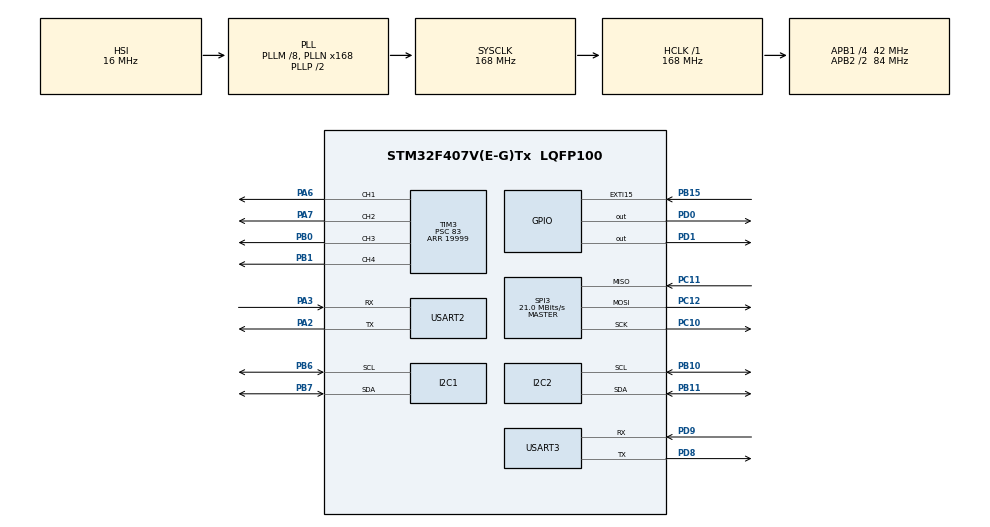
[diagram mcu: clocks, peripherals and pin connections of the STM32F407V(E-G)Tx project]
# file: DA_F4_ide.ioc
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Dma.I2C1_RX.4.Direction=DMA_PERIPH_TO_MEMORY
Dma.I2C1_RX.4.FIFOMode=DMA_FIFOMODE_DISABLE
Dma.I2C1_RX.4.Instance=DMA1_Stream0
Dma.I2C1_RX.4.MemDataAlignment=DMA_MDATAALIGN_BYTE
Dma.I2C1_RX.4.MemInc=DMA_MINC_ENABLE
Dma.I2C1_RX.4.Mode=DMA_NORMAL
Dma.I2C1_RX.4.PeriphDataAlignment=DMA_PDATAALIGN_BYTE
Dma.I2C1_RX.4.PeriphInc=DMA_PINC_DISABLE
Dma.I2C1_RX.4.Priority=DMA_PRIORITY_VERY_HIGH
Dma.I2C1_TX.5.Direction=DMA_MEMORY_TO_PERIPH
Dma.I2C1_TX.5.FIFOMode=DMA_FIFOMODE_DISABLE
Dma.I2C1_TX.5.Instance=DMA1_Stream7
Dma.I2C1_TX.5.MemDataAlignment=DMA_MDATAALIGN_BYTE
Dma.I2C1_TX.5.MemInc=DMA_MINC_ENABLE
Dma.I2C1_TX.5.Mode=DMA_NORMAL
Dma.I2C1_TX.5.PeriphDataAlignment=DMA_PDATAALIGN_BYTE
Dma.I2C1_TX.5.PeriphInc=DMA_PINC_DISABLE
Dma.I2C1_TX.5.Priority=DMA_PRIORITY_VERY_HIGH
Dma.Request0=USART2_RX
Dma.Request1=USART2_TX
Dma.Request2=USART3_RX
Dma.Request3=USART3_TX
Dma.Request4=I2C1_RX
Dma.Request5=I2C1_TX
Dma.USART2_RX.0.Direction=DMA_PERIPH_TO_MEMORY
Dma.USART2_RX.0.FIFOMode=DMA_FIFOMODE_DISABLE
Dma.USART2_RX.0.Instance=DMA1_Stream5
Dma.USART2_RX.0.MemDataAlignment=DMA_MDATAALIGN_BYTE
Dma.USART2_RX.0.MemInc=DMA_MINC_ENABLE
Dma.USART2_RX.0.Mode=DMA_NORMAL
Dma.USART2_RX.0.PeriphDataAlignment=DMA_PDATAALIGN_BYTE
Dma.USART2_RX.0.PeriphInc=DMA_PINC_DISABLE
Dma.USART2_RX.0.Priority=DMA_PRIORITY_HIGH
Dma.USART2_TX.1.Direction=DMA_MEMORY_TO_PERIPH
Dma.USART2_TX.1.FIFOMode=DMA_FIFOMODE_DISABLE
Dma.USART2_TX.1.Instance=DMA1_Stream6
Dma.USART2_TX.1.MemDataAlignment=DMA_MDATAALIGN_BYTE
Dma.USART2_TX.1.MemInc=DMA_MINC_ENABLE
Dma.USART2_TX.1.Mode=DMA_NORMAL
Dma.USART2_TX.1.PeriphDataAlignment=DMA_PDATAALIGN_BYTE
Dma.USART2_TX.1.PeriphInc=DMA_PINC_DISABLE
Dma.USART2_TX.1.Priority=DMA_PRIORITY_MEDIUM
Dma.USART3_RX.2.Direction=DMA_PERIPH_TO_MEMORY
Dma.USART3_RX.2.FIFOMode=DMA_FIFOMODE_DISABLE
Dma.USART3_RX.2.Instance=DMA1_Stream1
Dma.USART3_RX.2.MemDataAlignment=DMA_MDATAALIGN_BYTE
Dma.USART3_RX.2.MemInc=DMA_MINC_ENABLE
Dma.USART3_RX.2.Mode=DMA_NORMAL
Dma.USART3_RX.2.PeriphDataAlignment=DMA_PDATAALIGN_BYTE
Dma.USART3_RX.2.PeriphInc=DMA_PINC_DISABLE
Dma.USART3_RX.2.Priority=DMA_PRIORITY_HIGH
Dma.USART3_TX.3.Direction=DMA_MEMORY_TO_PERIPH
Dma.USART3_TX.3.FIFOMode=DMA_FIFOMODE_DISABLE
Dma.USART3_TX.3.Instance=DMA1_Stream3
Dma.USART3_TX.3.MemDataAlignment=DMA_MDATAALIGN_BYTE
Dma.USART3_TX.3.MemInc=DMA_MINC_ENABLE
Dma.USART3_TX.3.Mode=DMA_NORMAL
Dma.USART3_TX.3.PeriphDataAlignment=DMA_PDATAALIGN_BYTE
Dma.USART3_TX.3.PeriphInc=DMA_PINC_DISABLE
Dma.USART3_TX.3.Priority=DMA_PRIORITY_MEDIUM
I2C1.I2C_Mode=I2C_Fast
I2C2.I2C_Mode=I2C_Fast
Mcu.Family=STM32F4
Mcu.Name=STM32F407V(E-G)Tx
Mcu.Package=LQFP100
NVIC.DMA1_Stream0_IRQn=true\:0\:0\:false\:false\:true\:false\:true\:true
NVIC.DMA1_Stream1_IRQn=true\:0\:0\:false\:false\:true\:false\:true\:true
NVIC.DMA1_Stream3_IRQn=true\:0\:0\:false\:false\:true\:false\:true\:true
NVIC.DMA1_Stream5_IRQn=true\:0\:0\:false\:false\:true\:false\:true\:true
NVIC.DMA1_Stream6_IRQn=true\:0\:0\:false\:false\:true\:false\:true\:true
NVIC.DMA1_Stream7_IRQn=true\:0\:0\:false\:false\:true\:false\:true\:true
NVIC.EXTI15_10_IRQn=true\:0\:0\:false\:false\:true\:true\:true\:true
NVIC.PriorityGroup=NVIC_PRIORITYGROUP_4
NVIC.TIM4_IRQn=true\:0\:0\:false\:false\:true\:true\:true\:true
NVIC.USART2_IRQn=true\:0\:0\:false\:false\:true\:true\:true\:true
NVIC.USART3_IRQn=true\:0\:0\:false\:false\:true\:true\:true\:true
PA13.Mode=Serial_Wire
PA13.Signal=SYS_JTMS-SWDIO
PA14.Mode=Serial_Wire
PA14.Signal=SYS_JTCK-SWCLK
PA2.Mode=Asynchronous
PA2.Signal=USART2_TX
PA3.Mode=Asynchronous
PA3.Signal=USART2_RX
PA6.Signal=S_TIM3_CH1
PA7.Signal=S_TIM3_CH2
PB0.Signal=S_TIM3_CH3
PB1.Signal=S_TIM3_CH4
PB10.Mode=I2C
PB10.Signal=I2C2_SCL
PB11.Mode=I2C
PB11.Signal=I2C2_SDA
PB15.Signal=GPXTI15
PB6.Mode=I2C
PB6.Signal=I2C1_SCL
PB7.Mode=I2C
PB7.Signal=I2C1_SDA
PC10.Mode=Full_Duplex_Master
PC10.Signal=SPI3_SCK
PC11.Mode=Full_Duplex_Master
PC11.Signal=SPI3_MISO
PC12.Mode=Full_Duplex_Master
PC12.Signal=SPI3_MOSI
PD0.Signal=GPIO_Output
PD1.Signal=GPIO_Output
PD8.Mode=Asynchronous
PD8.Signal=USART3_TX
PD9.Mode=Asynchronous
PD9.Signal=USART3_RX
PH0-OSC_IN.Mode=HSE-External-Oscillator
PH0-OSC_IN.Signal=RCC_OSC_IN
PH1-OSC_OUT.Mode=HSE-External-Oscillator
PH1-OSC_OUT.Signal=RCC_OSC_OUT
ProjectManager.HeapSize=0x200
ProjectManager.StackSize=0x400
ProjectManager.TargetToolchain=STM32CubeIDE
RCC.48MHZClocksFreq_Value=84000000
RCC.AHBFreq_Value=168000000
RCC.APB1CLKDivider=RCC_HCLK_DIV4
RCC.APB1Freq_Value=42000000
RCC.APB1TimFreq_Value=84000000
RCC.APB2CLKDivider=RCC_HCLK_DIV2
RCC.APB2Freq_Value=84000000
RCC.APB2TimFreq_Value=168000000
RCC.CortexFreq_Value=168000000
RCC.HCLKFreq_Value=168000000
RCC.HSE_VALUE=25000000
RCC.HSI_VALUE=16000000
RCC.LSE_VALUE=32768
RCC.PLLM=8
RCC.PLLN=168
RCC.SYSCLKFreq_VALUE=168000000
RCC.SYSCLKSource=RCC_SYSCLKSOURCE_PLLCLK
RCC.VCOOutputFreq_Value=336000000
SH.S_TIM3_CH1.0=TIM3_CH1,PWM Generation1 CH1
SH.S_TIM3_CH2.0=TIM3_CH2,PWM Generation2 CH2
SH.S_TIM3_CH3.0=TIM3_CH3,PWM Generation3 CH3
SH.S_TIM3_CH4.0=TIM3_CH4,PWM Generation4 CH4
SPI3.CalculateBaudRate=21.0 MBits/s
SPI3.Direction=SPI_DIRECTION_2LINES
SPI3.Mode=SPI_MODE_MASTER
SPI3.VirtualType=VM_MASTER
TIM1.Prescaler=167
TIM2.Period=4294967295-1
TIM2.Prescaler=83
TIM3.Channel-PWM\ Generation1\ CH1=TIM_CHANNEL_1
TIM3.Channel-PWM\ Generation2\ CH2=TIM_CHANNEL_2
TIM3.Channel-PWM\ Generation3\ CH3=TIM_CHANNEL_3
TIM3.Channel-PWM\ Generation4\ CH4=TIM_CHANNEL_4
TIM3.OCFastMode_PWM-PWM\ Generation1\ CH1=TIM_OCFAST_ENABLE
TIM3.OCFastMode_PWM-PWM\ Generation2\ CH2=TIM_OCFAST_ENABLE
TIM3.OCFastMode_PWM-PWM\ Generation3\ CH3=TIM_OCFAST_ENABLE
TIM3.OCFastMode_PWM-PWM\ Generation4\ CH4=TIM_OCFAST_ENABLE
TIM3.Period=19999
TIM3.Prescaler=83
TIM4.Period=1249
TIM4.Prescaler=8399
USART2.VirtualMode=VM_ASYNC
USART3.VirtualMode=VM_ASYNC
VP_TIM1_VS_ClockSourceINT.Mode=Internal
VP_TIM2_VS_ClockSourceINT.Mode=Internal
VP_TIM4_VS_ClockSourceINT.Mode=Internal
board=custom

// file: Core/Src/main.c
/* USER CODE BEGIN Header */
/**
  ******************************************************************************
  * @file           : main.c
  * @brief          : Main program body
  ******************************************************************************
  * @attention
  *
  * Copyright (c) 2024 STMicroelectronics.
  * All rights reserved.
  *
  * This software is licensed under terms that can be found in the LICENSE file
  * in the root directory of this software component.
  * If no LICENSE file comes with this software, it is provided AS-IS.
  *
  ******************************************************************************
  */
/* USER CODE END Header */
#include "main.h"

/* USER CODE BEGIN Includes */
#include "stdbool.h"
#include "math.h"
#include "stdlib.h"
#include "stdio.h"
#include "string.h"
#include "BMP280_STM32.h"
#include "wire.h"

#define pi 3.14159
#define MPU6050_ADDR 0xD0
#define SMPLRT_DIV_REG 0x19
#define GYRO_CONFIG_REG 0x1B
#define ACCEL_CONFIG_REG 0x1C
#define ACCEL_XOUT_H_REG 0x3B
#define TEMP_OUT_H_REG 0x41
#define GYRO_XOUT_H_REG 0x43
#define PWR_MGMT_1_REG 0x6B
#define WHO_AM_I_REG 0x75
#define CONFIG_REG 0x1A
/* USER CODE END Includes */

/* USER CODE BEGIN PTD */
uint8_t  buffer[5];  //twi buffer, for now 32 elements, for other purpose (e.g. for OLED it is 1024) change as you wish
uint8_t  address=0x77, length=0; //0xEC
uint16_t calibrationData[7];
int64_t OFF, OFF2, SENS, SENS2;
int pressure, D1, D2, dT, P, Pa, TEMP, T2;
float Altitude;
uint8_t Flag_Plot = 0;
uint8_t Rx_Data[63];
uint8_t Rx_buff[63];
uint8_t Tx_buff[70];
uint16_t size_RxData = 0;

uint8_t Tx_data[70];

volatile long ch[8];
volatile long tick;
volatile uint8_t pulse;
volatile float AngleRoll;
volatile float AnglePitch;

int16_t Accel_X_RAW = 0;
int16_t Accel_Y_RAW = 0;
int16_t Accel_Z_RAW = 0;

int16_t Gyro_X_RAW = 0;
int16_t Gyro_Y_RAW = 0;
int16_t Gyro_Z_RAW = 0;

float Ax, Ay, Az, Gx, Gy, Gz;
float AccZInertial;
float VelocityVertical;
long Gyro_X_Calib,Gyro_Y_Calib,Gyro_Z_Calib;
double Altitude_Calib;

int loop_timer;

int receiver_input_channel_1;
int receiver_input_channel_2;
int receiver_input_channel_3;
int receiver_input_channel_4;
int receiver_input_channel_5;
int receiver_input_channel_6;
/* USER CODE END PTD */

/* USER CODE BEGIN PD */
float KalmanAngleRoll=0, KalmanUncertaintyAngleRoll=2*2;
float KalmanAnglePitch=0, KalmanUncertaintyAnglePitch=2*2;
float Kalman1DOutput[] = {0,0};
//float AltitudeKalman = 0,VelocityVerticalKalman = 0;
//float F[2][2]; float G[2][1];float  P[2][2];float  Q[2][2];float S[2][1];
//float H[1][2]; float I[2][2];float Acc[1][1];float K[2][1];float R[1][1];float L[1][1];float M[1][1];
float DesiredRateRoll, DesiredRatePitch,DesiredRateYaw;
float ErrorRateRoll, ErrorRatePitch, ErrorRateYaw;
float InputRoll, InputThrottle, InputPitch, InputYaw;
float PrevErrorRateRoll, PrevErrorRatePitch, PrevErrorRateYaw;
float PrevItermRateRoll, PrevItermRatePitch, PrevItermRateYaw;

float PIDReturn[]={0, 0, 0};
float PRateRoll=0; float PRatePitch=0; float PRateYaw=0;
float IRateRoll=0; float IRatePitch=0; float IRateYaw=0;
float DRateRoll=0; float DRatePitch=0; float DRateYaw=0;
float MotorInput1, MotorInput2, MotorInput3, MotorInput4;

float DesiredAngleRoll, DesiredAnglePitch;
float ErrorAngleRoll, ErrorAnglePitch;
float PrevErrorAngleRoll, PrevErrorAnglePitch;
float PrevItermAngleRoll, PrevItermAnglePitch;
float PAngleRoll=0; float PAnglePitch=0;
float IAngleRoll=0; float IAnglePitch=0;
float DAngleRoll=0; float DAnglePitch=0;
/* USER CODE END PD */

/* USER CODE BEGIN PM */
int SetValue(int value, int inMin, int inMax, int outMin, int outMax);
/* USER CODE END PM */

I2C_HandleTypeDef hi2c1;
I2C_HandleTypeDef hi2c2;
DMA_HandleTypeDef hdma_i2c1_rx;
DMA_HandleTypeDef hdma_i2c1_tx;

SPI_HandleTypeDef hspi3;

TIM_HandleTypeDef htim1;
TIM_HandleTypeDef htim2;
TIM_HandleTypeDef htim3;
TIM_HandleTypeDef htim4;

UART_HandleTypeDef huart2;
UART_HandleTypeDef huart3;
DMA_HandleTypeDef hdma_usart2_rx;
DMA_HandleTypeDef hdma_usart2_tx;
DMA_HandleTypeDef hdma_usart3_rx;
DMA_HandleTypeDef hdma_usart3_tx;

/* USER CODE BEGIN PV */
void fault_dec()
{
	while(1);
}
void Send_Data_To_Gui()
{
	 Tx_buff[0] = 0x44;
   Tx_buff[1] = 0x41;
	 unsigned char *AngleRoll_Bytes = (unsigned char *)&KalmanAngleRoll;
    for (int i = 0; i < sizeof(float); ++i) {
        Tx_buff[i + 2] = AngleRoll_Bytes[i];
    }
		unsigned char *AnglePitch_Bytes = (unsigned char *)&KalmanAnglePitch;
    for (int i = 0; i < sizeof(float); ++i) {
        Tx_buff[i + 6] = AnglePitch_Bytes[i];
    }
		unsigned char *AngleRoll_Setpoint_Bytes = (unsigned char *)&DesiredAngleRoll;
    for (int i = 0; i < sizeof(float); ++i) {
        Tx_buff[i + 10] = AngleRoll_Setpoint_Bytes[i];
    }
		unsigned char *AnglePitch_Setpoint_Bytes = (unsigned char *)&DesiredAnglePitch;
    for (int i = 0; i < sizeof(float); ++i) {
        Tx_buff[i + 14] = AnglePitch_Setpoint_Bytes[i];
    }

		Tx_buff[18] = '\r'; Tx_buff[19] = '\n';
	if(Flag_Plot)
	{
		HAL_UART_Transmit_DMA(&huart2, Tx_buff,20);
	}
}

void kalman_1d(float KalmanState, float KalmanUncertainty, float KalmanInput, float KalmanMeasurement) {
  KalmanState = KalmanState + 0.004*KalmanInput;
  KalmanUncertainty = KalmanUncertainty + 0.004 * 0.004 * 4 * 4;
  float KalmanGain = KalmanUncertainty * 1/(1*KalmanUncertainty + 3 * 3);
  KalmanState = KalmanState+KalmanGain * (KalmanMeasurement-KalmanState);
  KalmanUncertainty = (1-KalmanGain) * KalmanUncertainty;
  Kalman1DOutput[0] = KalmanState;
  Kalman1DOutput[1] = KalmanUncertainty;
}
void kalman_2d(void);
void define_kalman_2d(void);

int SetValue(int value, int inMin, int inMax, int outMin, int outMax)
{
	if (value < inMin) return outMin;
	else if (value > inMax) return outMax;
	else return value;
}

void HAL_GPIO_EXTI_Callback(uint16_t GPIO_Pin){

	if ( GPIO_Pin == GPIO_PIN_15){
		tick = __HAL_TIM_GET_COUNTER(&htim2);
		__HAL_TIM_SET_COUNTER(&htim2,0);

		if ( tick < 2100){
			ch[pulse] = SetValue(tick, 1030, 1950, 1000, 2000);;
			pulse++;
		}
		else{
			__HAL_TIM_SET_COUNTER(&htim2,0);
			pulse =0;
		}
	}
}

void MPU6050_Init (void)
{
	uint8_t check;
	uint8_t Data;

	// check device ID WHO_AM_I

	HAL_I2C_Mem_Read (&hi2c1, MPU6050_ADDR,WHO_AM_I_REG,1, &check, 1,1000);

	if (check == 104)  // 0x68 will be returned by the sensor if everything goes well
	{
		// power management register 0X6B we should write all 0's to wake the sensor up
		Data = 0;
		if(HAL_I2C_Mem_Write(&hi2c1, MPU6050_ADDR, PWR_MGMT_1_REG, 1,&Data, 1,1000)!= HAL_OK)
			fault_dec();
		// config 1KHz Digital Low Pass Filter 10Hz
		Data = 0x05;
		if(HAL_I2C_Mem_Write(&hi2c1, MPU6050_ADDR, CONFIG_REG, 1,&Data, 1,1000)!= HAL_OK)
			fault_dec();

		// Set DATA RATE of 1KHz by writing SMPLRT_DIV register
		Data = 0x07;
		if(HAL_I2C_Mem_Write(&hi2c1, MPU6050_ADDR, SMPLRT_DIV_REG, 1, &Data, 1,1000)!= HAL_OK)
			fault_dec();

		// Set accelerometer configuration in ACCEL_CONFIG Register
		// XA_ST=0,YA_ST=0,ZA_ST=0, FS_SEL=0 -> � 8g
		Data = 0x10;
		if(HAL_I2C_Mem_Write(&hi2c1, MPU6050_ADDR, ACCEL_CONFIG_REG, 1, &Data, 1,1000)!= HAL_OK)
			fault_dec();

		// Set Gyroscopic configuration in GYRO_CONFIG Register
		// XG_ST=0,YG_ST=0,ZG_ST=0, FS_SEL=0 -> � 500 �/s
		Data = 0x08;
		if(HAL_I2C_Mem_Write(&hi2c1, MPU6050_ADDR, GYRO_CONFIG_REG, 1, &Data, 1,1000)!= HAL_OK)
			fault_dec();
	}
}

HAL_StatusTypeDef MPU6050_Read_Data (void)
{
	uint8_t Rec_Data_Acc[6];
	uint8_t Rec_Data_Gyro[6];

	// Read 6 BYTES of data starting from ACCEL_XOUT_H register

	if(HAL_I2C_Mem_Read (&hi2c1, MPU6050_ADDR, ACCEL_XOUT_H_REG,1,Rec_Data_Acc,6,20) != HAL_OK)
		return HAL_ERROR;

	Accel_X_RAW = (int16_t)(Rec_Data_Acc[0] << 8 | Rec_Data_Acc [1]);
	Accel_Y_RAW = (int16_t)(Rec_Data_Acc[2] << 8 | Rec_Data_Acc [3]);
	Accel_Z_RAW = (int16_t)(Rec_Data_Acc[4] << 8 | Rec_Data_Acc [5]);

	/*** convert the RAW values into acceleration in 'g'
	     we have to divide according to the Full scale value set in FS_SEL
	     I have configured FS_SEL = 0. So I am dividing by 16384.0
	     for more details check ACCEL_CONFIG Register              ****/

	Ax = Accel_X_RAW/4096.0;
	Ay = Accel_Y_RAW/4096.0;
	Az = Accel_Z_RAW/4096.0;

	if(HAL_I2C_Mem_Read (&hi2c1, MPU6050_ADDR, GYRO_XOUT_H_REG,1,Rec_Data_Gyro,6,20)!= HAL_OK)
		return HAL_ERROR;
	Gyro_X_RAW = (int16_t)(Rec_Data_Gyro[0] << 8 | Rec_Data_Gyro [1]);
	Gyro_Y_RAW = (int16_t)(Rec_Data_Gyro[2] << 8 | Rec_Data_Gyro [3]);
	Gyro_Z_RAW = (int16_t)(Rec_Data_Gyro[4] << 8 | Rec_Data_Gyro [5]);

	/*** convert the RAW values into dps (�/s)
	     we have to divide according to the Full scale value set in FS_SEL
	     I have configured FS_SEL = 0. So I am dividing by 131.0
	     for more details check GYRO_CONFIG Register              ****/

	Gx = Gyro_X_RAW/65.5;
	Gy = Gyro_Y_RAW/65.5;
	Gz = Gyro_Z_RAW/65.5;

	AngleRoll = atan(Ay/(sqrt(Ax*Ax + Az*Az)))*180/pi;
	AnglePitch = -atan(Ax/(sqrt(Ay*Ay + Az*Az)))*180/pi;
	return HAL_OK;
}

void Calib_Gyro(void);
void Reset_MPU6050(void);
void Calib_BMP280(void);

void pid_equation(float Error, float P , float I, float D, float PrevError, float PrevIterm) {
  // T = 4ms chu ky lay mau, 250Hz
  // T = 20ms chu ky lay mau, 50Hz
  float Pterm=P*Error;
  float Iterm=PrevIterm+I*(Error+PrevError)*0.004/2;
  if (Iterm > 400) Iterm=400;
  else if (Iterm <-400) Iterm=-400;
  float Dterm=D*(Error-PrevError)/0.004;
  float PIDOutput= Pterm+Iterm+Dterm;
  if (PIDOutput>400) PIDOutput=400;
  else if (PIDOutput <-400) PIDOutput=-400;
  PIDReturn[0]=PIDOutput;
  PIDReturn[1]=Error;
  PIDReturn[2]=Iterm;
}

void reset_pid(void) {
  PrevErrorRateRoll=0; PrevErrorRatePitch=0; PrevErrorRateYaw=0;
  PrevItermRateRoll=0; PrevItermRatePitch=0; PrevItermRateYaw=0;
  PrevErrorAngleRoll=0; PrevErrorAnglePitch=0;
  PrevItermAngleRoll=0; PrevItermAnglePitch=0;
}

void setupSensor(void)
{
    twiSend(address, 0x1E,1); //just send 1 byte that tells MS5611 to reset
    HAL_Delay(20); //delay 10 mS needed for device to execute reset
    for (int i=1;i<=6;i++)
    {
    twiReceive(address, 0xA0+i*2, 2); //read all 14 bytes for callibration data from PROM
    //printMsg("b0= 0x%x, b1= 0x%x, b2= 0x%x \n",buffer[0], buffer[1], buffer[2]); //for debug purposes
    HAL_Delay(5); //at least 40 uS
    calibrationData[i] = buffer[0]<<8|buffer[1]; //pair of bytes goes into each element of callibrationData[i], global variables, 14 uint8_t into 7 uint16_t
  }
}
int getPressure(void)
{
    D1=0;D2=0;
    twiSend(address, 0x48,1); //set D1 OSR=4096 (overscan, maximum) 0x48
    HAL_Delay(1);//must be 15 mS or more
    twiReceive(address, 0x00, 3); //initiate and read ADC data, 3 bytes
    //printMsg("b0= 0x%x, b1= 0x%x, b2= 0x%x ===========\n",buffer[0], buffer[1], buffer[2]); //for debug purposes
    D1 = D1<<8 | buffer[0]; //shifting first MSB byte left
    D1 = D1<<8 | buffer[1]; //another byte
    D1 = D1<<8 | buffer[2]; //LSB byte last
    twiSend(address, 0x58,1); //set D2 OSR=4096 (overscan, maximum) 0x58
    HAL_Delay(1);//must be 15 mS or more
    twiReceive(address, 0x00, 3); //initiate and read ADC data, 3 bytes
    D2 = D2<<8 | buffer[0]; //shifting first MSB byte left
    D2 = D2<<8 | buffer[1]; //another byte
    D2 = D2<<8 | buffer[2]; //LSB byte last

    dT = D2 - ((int)calibrationData[5] << 8);
  TEMP = (2000 + (((int64_t)dT * (int64_t)calibrationData[6]) >> 23)); //temperature before second order compensation
  if (TEMP<2000)  //if temperature of the sensor goes below 20°C, it activates "second order temperature compensation"
    {
      T2=pow(dT,2)/2147483648;
      OFF2=5*pow((TEMP-2000),2)/2;
      SENS2=5*pow((TEMP-2000),2)/4;
      if (TEMP<-1500) //if temperature of the sensor goes even lower, below -15°C, then additional math is utilized
        {
          OFF2=OFF2+7*pow((TEMP+1500),2);
          SENS2=SENS2+11*pow((TEMP+1500),2)/2;
        }
    }
    else
      {
          T2=0;
          OFF2=0;
          SENS2=0;
      }
  TEMP = ((2000 + (((int64_t)dT * (int64_t)calibrationData[6]) >> 23))-T2); //second order compensation included
  OFF = (((unsigned int)calibrationData[2] << 16) + (((int64_t)calibrationData[4] * dT) >> 7)-OFF2); //second order compensation included
  SENS = (((unsigned int)calibrationData[1] << 15) + (((int64_t)calibrationData[3] * dT) >> 8)-SENS2); //second order compensation included
  P = (((D1 * SENS) >> 21) - OFF) >> 15;
  return P; //returns back pressure P
}
/* USER CODE END PV */

void SystemClock_Config(void);
static void MX_GPIO_Init(void);
static void MX_DMA_Init(void);
static void MX_I2C1_Init(void);
static void MX_TIM1_Init(void);
static void MX_TIM2_Init(void);
static void MX_TIM3_Init(void);
static void MX_TIM4_Init(void);
static void MX_USART2_UART_Init(void);
static void MX_I2C2_Init(void);
static void MX_USART3_UART_Init(void);
static void MX_SPI3_Init(void);
/* USER CODE BEGIN PFP */
int Receive_Throttle_Min(void);
/* USER CODE END PFP */

/* USER CODE BEGIN 0 */
//float Temperature, Pressure, Humidity, Altitude;
int ret;

void HAL_TIM_PeriodElapsedCallback(TIM_HandleTypeDef *htim)
{
	if(htim->Instance == TIM4)
	{
		Send_Data_To_Gui();
	}
}

void HAL_UARTEx_RxEventCallback(UART_HandleTypeDef *huart, uint16_t Size)
{
	HAL_UARTEx_ReceiveToIdle_DMA(&huart2, Rx_buff, sizeof(Rx_buff));
  __HAL_DMA_DISABLE_IT(&hdma_usart2_rx, DMA_IT_HT);
	size_RxData = Size;
	if ((Rx_buff[0] == 0xAA) && (Rx_buff[1] == 0xFF) && (Rx_buff[2] == size_RxData))
	{
		memset(Tx_buff, 0, sizeof(Tx_buff));
		memcpy(Rx_Data, Rx_buff, sizeof(Rx_buff));
		memset(Rx_buff, 0, sizeof(Rx_buff));
		Tx_buff[0] = 'B'; Tx_buff[1] = 'E';Tx_buff[18] = '\r'; Tx_buff[19] = '\n';
		HAL_UART_Transmit_DMA(&huart2, (uint8_t*)Tx_buff,20);
		//memset(Tx_buff, 0, sizeof(Tx_buff));
	}
	if ((Rx_buff[0] == 0xCC) && (Rx_buff[1] == 0xDD))
	{
		memset(Tx_buff, 0, sizeof(Tx_buff));
		Flag_Plot = Rx_buff[2];
		memset(Rx_buff, 0, sizeof(Rx_buff));
		if (Flag_Plot){ Tx_buff[0] = 'P'; Tx_buff[1] = 'L';}
		else{Tx_buff[0] = 'S'; Tx_buff[1] = 'T'; }
		Tx_buff[18] = '\r'; Tx_buff[19] = '\n';
		HAL_UART_Transmit_DMA(&huart2, (uint8_t*)Tx_buff,20);
		//memset(Tx_buff, 0, sizeof(Tx_buff));
	}
	// gan gia tri pid vao
	memcpy(&PAngleRoll, &Rx_Data[3], sizeof(float));
	memcpy(&IAngleRoll, &Rx_Data[7], sizeof(float));
	memcpy(&DAngleRoll, &Rx_Data[11], sizeof(float));

	memcpy(&PAnglePitch, &Rx_Data[15], sizeof(float));
	memcpy(&IAnglePitch, &Rx_Data[19], sizeof(float));
	memcpy(&DAnglePitch, &Rx_Data[23], sizeof(float));

	memcpy(&PRateRoll, &Rx_Data[27], sizeof(float));
	memcpy(&IRateRoll, &Rx_Data[31], sizeof(float));
	memcpy(&DRateRoll, &Rx_Data[35], sizeof(float));

	memcpy(&PRatePitch, &Rx_Data[39], sizeof(float));
	memcpy(&IRatePitch, &Rx_Data[43], sizeof(float));
	memcpy(&DRatePitch, &Rx_Data[47], sizeof(float));

	memcpy(&PRateYaw, &Rx_Data[51], sizeof(float));
    memcpy(&IRateYaw, &Rx_Data[55], sizeof(float));
	memcpy(&DRateYaw, &Rx_Data[59], sizeof(float));
}
/* USER CODE END 0 */

int main(void)
{

  /* MCU Configuration--------------------------------------------------------*/

  /* Reset of all peripherals, Initializes the Flash interface and the Systick. */
  HAL_Init();

  /* Configure the system clock */
  SystemClock_Config();

  /* Initialize all configured peripherals */
  MX_GPIO_Init();
  MX_DMA_Init();
  MX_I2C1_Init();
  MX_TIM1_Init();
  MX_TIM2_Init();
  MX_TIM3_Init();
  MX_TIM4_Init();
  MX_USART2_UART_Init();
  MX_I2C2_Init();
  MX_USART3_UART_Init();
  MX_SPI3_Init();
  /* USER CODE BEGIN 2 */
//  BMP280_WakeUP();
//  HAL_Delay(1000);
//  ret = BMP280_Config(OSRS_16, OSRS_16, OSRS_OFF, MODE_NORMAL, T_SB_0p5, IIR_16);
//  HAL_Delay(100);
//  while(ret)
//  {
//	HAL_I2C_DeInit(&hi2c2);
//	MX_I2C2_Init();
//    BMP280_WakeUP();
//    HAL_Delay(100);
//  	ret = BMP280_Config(OSRS_16, OSRS_16, OSRS_OFF, MODE_NORMAL, T_SB_0p5, IIR_16);
//  }
  //Calib_BMP280();
  //define_kalman_2d();
  setupSensor();
  HAL_TIM_Base_Start_IT(&htim4);
  HAL_UARTEx_ReceiveToIdle_DMA(&huart2, Rx_buff, sizeof(Rx_buff));
  __HAL_DMA_DISABLE_IT(&hdma_usart2_rx, DMA_IT_HT);
  HAL_TIM_Base_Start(&htim2);
  HAL_TIM_Base_Start(&htim1);
  HAL_TIM_PWM_Start(&htim3, TIM_CHANNEL_1);
  HAL_TIM_PWM_Start(&htim3, TIM_CHANNEL_2);
  HAL_TIM_PWM_Start(&htim3, TIM_CHANNEL_3);
  HAL_TIM_PWM_Start(&htim3, TIM_CHANNEL_4);
  HAL_Delay(20);
  __HAL_TIM_SET_COMPARE(&htim3,TIM_CHANNEL_1,0);
  __HAL_TIM_SET_COMPARE(&htim3,TIM_CHANNEL_2,0);
  __HAL_TIM_SET_COMPARE(&htim3,TIM_CHANNEL_3,0);
  __HAL_TIM_SET_COMPARE(&htim3,TIM_CHANNEL_4,0);
  MX_I2C1_Init();
  HAL_Delay(20);
  MPU6050_Init();
  HAL_Delay(1000);
  Calib_Gyro();
  HAL_Delay(50);
  ch[0]=1500;      //Roll
  ch[1]=1500;      //Pitch
  ch[2]=1000;      //Throttle
  ch[3]=1500;      //Yaw
  while(Receive_Throttle_Min() == 0);
  HAL_Delay(20);
  loop_timer = TIM1->CNT;
  /* USER CODE END 2 */

  /* Infinite loop */
  while (1)
  {

    /* USER CODE BEGIN 3 */
	  if(MPU6050_Read_Data() != HAL_OK)
	  {
	  	Reset_MPU6050();
	  }
	  //BMP280_Measure();
	  pressure = getPressure();
	  Altitude = 44330.0f*(1-powf((pressure/101325.0f),(1.0f/5.257f)));
	  receiver_input_channel_1 = ch[0];
	  receiver_input_channel_2 = ch[1];
	  receiver_input_channel_3 = ch[2]; // chan ga(Throttle)
	  receiver_input_channel_4 = ch[3];

	  Gx -= Gyro_X_Calib;
	  Gy -= Gyro_Y_Calib;
	  Gz -= Gyro_Z_Calib;

//      AccZInertial = -sin(AnglePitch*(pi/180))*Ax + cos(AnglePitch*(pi/180))*sin(AngleRoll*(pi/180))*Ay + cos(AnglePitch*(pi/180))*cos(AngleRoll*(pi/180))*Az;
//	  AccZInertial = (AccZInertial-1)*9.81;  //
//      VelocityVertical = VelocityVertical + AccZInertial*0.004;
//	  Altitude -= Altitude_Calib;
//	  define_kalman_2d();
//	  kalman_2d();

	  kalman_1d(KalmanAngleRoll, KalmanUncertaintyAngleRoll, Gx, AngleRoll);
      	  KalmanAngleRoll = Kalman1DOutput[0];
      	  KalmanUncertaintyAngleRoll = Kalman1DOutput[1];

	  kalman_1d(KalmanAnglePitch, KalmanUncertaintyAnglePitch, Gy, AnglePitch);
	  	  KalmanAnglePitch = Kalman1DOutput[0];
	  	  KalmanUncertaintyAnglePitch = Kalman1DOutput[1];

	/*------------------------------------------------------------------------*/
// /* 1 vong rate angle */
//	DesiredRateRoll = 0.10*(receiver_input_channel_1-1500);  // -50do/s den 50do/s
//  DesiredRatePitch = 0.10*(receiver_input_channel_2-1500); // -50do/s den 50do/s
//  InputThrottle = receiver_input_channel_3;
//  DesiredRateYaw = 0.1*(receiver_input_channel_4-1500);
//
//  ErrorRateRoll=DesiredRateRoll-Gx;
//  ErrorRatePitch=DesiredRatePitch-Gy;
//  ErrorRateYaw=DesiredRateYaw-Gz;
//
//  pid_equation(ErrorRateRoll, PRateRoll, IRateRoll, DRateRoll, PrevErrorRateRoll, PrevItermRateRoll);
//       InputRoll=PIDReturn[0];
//       PrevErrorRateRoll=PIDReturn[1];
//       PrevItermRateRoll=PIDReturn[2];
//
//  pid_equation(ErrorRatePitch, PRatePitch,IRatePitch, DRatePitch, PrevErrorRatePitch, PrevItermRatePitch);
//       InputPitch=PIDReturn[0];
//       PrevErrorRatePitch=PIDReturn[1];
//       PrevItermRatePitch=PIDReturn[2];
//
//  pid_equation(ErrorRateYaw, PRateYaw,IRateYaw, DRateYaw, PrevErrorRateYaw, PrevItermRateYaw);
//       InputYaw=PIDReturn[0];
//       PrevErrorRateYaw=PIDReturn[1];
//       PrevItermRateYaw=PIDReturn[2];

	DesiredAngleRoll = 0.10*(receiver_input_channel_1-1500);  // -50do den 50do
    DesiredAnglePitch = 0.10*(receiver_input_channel_2-1500); // -50do den 50do
    InputThrottle = receiver_input_channel_3;
    DesiredRateYaw = 0.1*(receiver_input_channel_4-1500);

	ErrorAngleRoll = DesiredAngleRoll - KalmanAngleRoll;
	ErrorAnglePitch = DesiredAnglePitch - KalmanAnglePitch;

	pid_equation(ErrorAngleRoll,PAngleRoll,IAngleRoll,DAngleRoll,PrevErrorAngleRoll,PrevItermAngleRoll);
	DesiredRateRoll = PIDReturn[0];
	PrevErrorAngleRoll = PIDReturn[1];
	PrevItermAngleRoll = PIDReturn[2];

	pid_equation(ErrorAnglePitch,PAnglePitch,IAnglePitch,DAnglePitch,PrevErrorAnglePitch,PrevItermAnglePitch);
	DesiredRatePitch = PIDReturn[0];
	PrevErrorAnglePitch = PIDReturn[1];
	PrevItermAnglePitch = PIDReturn[2];

	ErrorRateRoll = DesiredRateRoll - Gx;
	ErrorRatePitch = DesiredRatePitch - Gy;
	ErrorRateYaw = DesiredRateYaw - Gz;

  pid_equation(ErrorRateRoll, PRateRoll, IRateRoll, DRateRoll, PrevErrorRateRoll, PrevItermRateRoll);
       InputRoll=PIDReturn[0];
       PrevErrorRateRoll=PIDReturn[1];
       PrevItermRateRoll=PIDReturn[2];

  pid_equation(ErrorRatePitch, PRatePitch,IRatePitch, DRatePitch, PrevErrorRatePitch, PrevItermRatePitch);
       InputPitch=PIDReturn[0];
       PrevErrorRatePitch=PIDReturn[1];
       PrevItermRatePitch=PIDReturn[2];

  pid_equation(ErrorRateYaw, PRateYaw,IRateYaw, DRateYaw, PrevErrorRateYaw, PrevItermRateYaw);
       InputYaw=PIDReturn[0];
       PrevErrorRateYaw=PIDReturn[1];
       PrevItermRateYaw=PIDReturn[2];

  if (InputThrottle > 1800) InputThrottle = 1800;
  MotorInput1= (InputThrottle-InputRoll-InputPitch-InputYaw);
  MotorInput2= (InputThrottle-InputRoll+InputPitch+InputYaw);
  MotorInput3= (InputThrottle+InputRoll+InputPitch-InputYaw);
  MotorInput4= (InputThrottle+InputRoll-InputPitch+InputYaw);

  if (MotorInput1 > 1999)MotorInput1 = 1999;
  if (MotorInput2 > 1999)MotorInput2 = 1999;
  if (MotorInput3 > 1999)MotorInput3 = 1999;
  if (MotorInput4 > 1999)MotorInput4 = 1999;

  int ThrottleIdle = 1180;
  if (MotorInput1 < ThrottleIdle) MotorInput1 = ThrottleIdle;
  if (MotorInput2 < ThrottleIdle) MotorInput2 = ThrottleIdle;
  if (MotorInput3 < ThrottleIdle) MotorInput3 = ThrottleIdle;
  if (MotorInput4 < ThrottleIdle) MotorInput4 = ThrottleIdle;

  int ThrottleCutOff = 1000;
  if (receiver_input_channel_3 < 1050)
  {
		MotorInput1=ThrottleCutOff;
    MotorInput2=ThrottleCutOff;
    MotorInput3=ThrottleCutOff;
    MotorInput4=ThrottleCutOff;
    reset_pid();
  }

		__HAL_TIM_SET_COMPARE(&htim3,TIM_CHANNEL_1,MotorInput1);
	 	__HAL_TIM_SET_COMPARE(&htim3,TIM_CHANNEL_2,MotorInput2);
	 	__HAL_TIM_SET_COMPARE(&htim3,TIM_CHANNEL_3,MotorInput3);
	 	__HAL_TIM_SET_COMPARE(&htim3,TIM_CHANNEL_4,MotorInput4);

									/*------------------------------------------------------------*/
	// chu ky lay mau T = 4ms , f = 250Hz
	// chu ky lay mau T = 20ms, f = 50Hz
	while ( abs(__HAL_TIM_GET_COUNTER(&htim1) - loop_timer) < 4000 ) ;
	 		 __HAL_TIM_SET_COUNTER(&htim1,0);
	 		 loop_timer = TIM1->CNT;
  }
  /* USER CODE END 3 */
}

void SystemClock_Config(void)
{
  RCC_OscInitTypeDef RCC_OscInitStruct = {0};
  RCC_ClkInitTypeDef RCC_ClkInitStruct = {0};

  /** Configure the main internal regulator output voltage
  */
  __HAL_RCC_PWR_CLK_ENABLE();
  __HAL_PWR_VOLTAGESCALING_CONFIG(PWR_REGULATOR_VOLTAGE_SCALE1);

  /** Initializes the RCC Oscillators according to the specified parameters
  * in the RCC_OscInitTypeDef structure.
  */
  RCC_OscInitStruct.OscillatorType = RCC_OSCILLATORTYPE_HSI;
  RCC_OscInitStruct.HSIState = RCC_HSI_ON;
  RCC_OscInitStruct.HSICalibrationValue = RCC_HSICALIBRATION_DEFAULT;
  RCC_OscInitStruct.PLL.PLLState = RCC_PLL_ON;
  RCC_OscInitStruct.PLL.PLLSource = RCC_PLLSOURCE_HSI;
  RCC_OscInitStruct.PLL.PLLM = 8;
  RCC_OscInitStruct.PLL.PLLN = 168;
  RCC_OscInitStruct.PLL.PLLP = RCC_PLLP_DIV2;
  RCC_OscInitStruct.PLL.PLLQ = 4;
  if (HAL_RCC_OscConfig(&RCC_OscInitStruct) != HAL_OK)
  {
    Error_Handler();
  }

  /** Initializes the CPU, AHB and APB buses clocks
  */
  RCC_ClkInitStruct.ClockType = RCC_CLOCKTYPE_HCLK|RCC_CLOCKTYPE_SYSCLK
                              |RCC_CLOCKTYPE_PCLK1|RCC_CLOCKTYPE_PCLK2;
  RCC_ClkInitStruct.SYSCLKSource = RCC_SYSCLKSOURCE_PLLCLK;
  RCC_ClkInitStruct.AHBCLKDivider = RCC_SYSCLK_DIV1;
  RCC_ClkInitStruct.APB1CLKDivider = RCC_HCLK_DIV4;
  RCC_ClkInitStruct.APB2CLKDivider = RCC_HCLK_DIV2;

  if (HAL_RCC_ClockConfig(&RCC_ClkInitStruct, FLASH_LATENCY_5) != HAL_OK)
  {
    Error_Handler();
  }
}

static void MX_I2C1_Init(void)
{

  hi2c1.Instance = I2C1;
  hi2c1.Init.ClockSpeed = 400000;
  hi2c1.Init.DutyCycle = I2C_DUTYCYCLE_2;
  hi2c1.Init.OwnAddress1 = 0;
  hi2c1.Init.AddressingMode = I2C_ADDRESSINGMODE_7BIT;
  hi2c1.Init.DualAddressMode = I2C_DUALADDRESS_DISABLE;
  hi2c1.Init.OwnAddress2 = 0;
  hi2c1.Init.GeneralCallMode = I2C_GENERALCALL_DISABLE;
  hi2c1.Init.NoStretchMode = I2C_NOSTRETCH_DISABLE;
  if (HAL_I2C_Init(&hi2c1) != HAL_OK)
  {
    Error_Handler();
  }

}

static void MX_I2C2_Init(void)
{

  hi2c2.Instance = I2C2;
  hi2c2.Init.ClockSpeed = 400000;
  hi2c2.Init.DutyCycle = I2C_DUTYCYCLE_2;
  hi2c2.Init.OwnAddress1 = 0;
  hi2c2.Init.AddressingMode = I2C_ADDRESSINGMODE_7BIT;
  hi2c2.Init.DualAddressMode = I2C_DUALADDRESS_DISABLE;
  hi2c2.Init.OwnAddress2 = 0;
  hi2c2.Init.GeneralCallMode = I2C_GENERALCALL_DISABLE;
  hi2c2.Init.NoStretchMode = I2C_NOSTRETCH_DISABLE;
  if (HAL_I2C_Init(&hi2c2) != HAL_OK)
  {
    Error_Handler();
  }

}

static void MX_SPI3_Init(void)
{

  /* SPI3 parameter configuration*/
  hspi3.Instance = SPI3;
  hspi3.Init.Mode = SPI_MODE_MASTER;
  hspi3.Init.Direction = SPI_DIRECTION_2LINES;
  hspi3.Init.DataSize = SPI_DATASIZE_8BIT;
  hspi3.Init.CLKPolarity = SPI_POLARITY_LOW;
  hspi3.Init.CLKPhase = SPI_PHASE_1EDGE;
  hspi3.Init.NSS = SPI_NSS_SOFT;
  hspi3.Init.BaudRatePrescaler = SPI_BAUDRATEPRESCALER_2;
  hspi3.Init.FirstBit = SPI_FIRSTBIT_MSB;
  hspi3.Init.TIMode = SPI_TIMODE_DISABLE;
  hspi3.Init.CRCCalculation = SPI_CRCCALCULATION_DISABLE;
  hspi3.Init.CRCPolynomial = 10;
  if (HAL_SPI_Init(&hspi3) != HAL_OK)
  {
    Error_Handler();
  }

}

static void MX_TIM1_Init(void)
{

  TIM_ClockConfigTypeDef sClockSourceConfig = {0};
  TIM_MasterConfigTypeDef sMasterConfig = {0};

  htim1.Instance = TIM1;
  htim1.Init.Prescaler = 167;
  htim1.Init.CounterMode = TIM_COUNTERMODE_UP;
  htim1.Init.Period = 65535;
  htim1.Init.ClockDivision = TIM_CLOCKDIVISION_DIV1;
  htim1.Init.RepetitionCounter = 0;
  htim1.Init.AutoReloadPreload = TIM_AUTORELOAD_PRELOAD_DISABLE;
  if (HAL_TIM_Base_Init(&htim1) != HAL_OK)
  {
    Error_Handler();
  }
  sClockSourceConfig.ClockSource = TIM_CLOCKSOURCE_INTERNAL;
  if (HAL_TIM_ConfigClockSource(&htim1, &sClockSourceConfig) != HAL_OK)
  {
    Error_Handler();
  }
  sMasterConfig.MasterOutputTrigger = TIM_TRGO_RESET;
  sMasterConfig.MasterSlaveMode = TIM_MASTERSLAVEMODE_DISABLE;
  if (HAL_TIMEx_MasterConfigSynchronization(&htim1, &sMasterConfig) != HAL_OK)
  {
    Error_Handler();
  }

}

static void MX_TIM2_Init(void)
{

  TIM_ClockConfigTypeDef sClockSourceConfig = {0};
  TIM_MasterConfigTypeDef sMasterConfig = {0};

  htim2.Instance = TIM2;
  htim2.Init.Prescaler = 83;
  htim2.Init.CounterMode = TIM_COUNTERMODE_UP;
  htim2.Init.Period = 4294967295-1;
  htim2.Init.ClockDivision = TIM_CLOCKDIVISION_DIV1;
  htim2.Init.AutoReloadPreload = TIM_AUTORELOAD_PRELOAD_DISABLE;
  if (HAL_TIM_Base_Init(&htim2) != HAL_OK)
  {
    Error_Handler();
  }
  sClockSourceConfig.ClockSource = TIM_CLOCKSOURCE_INTERNAL;
  if (HAL_TIM_ConfigClockSource(&htim2, &sClockSourceConfig) != HAL_OK)
  {
    Error_Handler();
  }
  sMasterConfig.MasterOutputTrigger = TIM_TRGO_RESET;
  sMasterConfig.MasterSlaveMode = TIM_MASTERSLAVEMODE_DISABLE;
  if (HAL_TIMEx_MasterConfigSynchronization(&htim2, &sMasterConfig) != HAL_OK)
  {
    Error_Handler();
  }

}

static void MX_TIM3_Init(void)
{

  TIM_MasterConfigTypeDef sMasterConfig = {0};
  TIM_OC_InitTypeDef sConfigOC = {0};

  htim3.Instance = TIM3;
  htim3.Init.Prescaler = 83;
  htim3.Init.CounterMode = TIM_COUNTERMODE_UP;
  htim3.Init.Period = 19999;
  htim3.Init.ClockDivision = TIM_CLOCKDIVISION_DIV1;
  htim3.Init.AutoReloadPreload = TIM_AUTORELOAD_PRELOAD_DISABLE;
  if (HAL_TIM_PWM_Init(&htim3) != HAL_OK)
  {
    Error_Handler();
  }
  sMasterConfig.MasterOutputTrigger = TIM_TRGO_RESET;
  sMasterConfig.MasterSlaveMode = TIM_MASTERSLAVEMODE_DISABLE;
  if (HAL_TIMEx_MasterConfigSynchronization(&htim3, &sMasterConfig) != HAL_OK)
  {
    Error_Handler();
  }
  sConfigOC.OCMode = TIM_OCMODE_PWM1;
  sConfigOC.Pulse = 0;
  sConfigOC.OCPolarity = TIM_OCPOLARITY_HIGH;
  sConfigOC.OCFastMode = TIM_OCFAST_ENABLE;
  if (HAL_TIM_PWM_ConfigChannel(&htim3, &sConfigOC, TIM_CHANNEL_1) != HAL_OK)
  {
    Error_Handler();
  }
  if (HAL_TIM_PWM_ConfigChannel(&htim3, &sConfigOC, TIM_CHANNEL_2) != HAL_OK)
  {
    Error_Handler();
  }
  if (HAL_TIM_PWM_ConfigChannel(&htim3, &sConfigOC, TIM_CHANNEL_3) != HAL_OK)
  {
    Error_Handler();
  }
  if (HAL_TIM_PWM_ConfigChannel(&htim3, &sConfigOC, TIM_CHANNEL_4) != HAL_OK)
  {
    Error_Handler();
  }
  HAL_TIM_MspPostInit(&htim3);

}

static void MX_TIM4_Init(void)
{

  TIM_ClockConfigTypeDef sClockSourceConfig = {0};
  TIM_MasterConfigTypeDef sMasterConfig = {0};

  htim4.Instance = TIM4;
  htim4.Init.Prescaler = 8399;
  htim4.Init.CounterMode = TIM_COUNTERMODE_UP;
  htim4.Init.Period = 1249;
  htim4.Init.ClockDivision = TIM_CLOCKDIVISION_DIV1;
  htim4.Init.AutoReloadPreload = TIM_AUTORELOAD_PRELOAD_DISABLE;
  if (HAL_TIM_Base_Init(&htim4) != HAL_OK)
  {
    Error_Handler();
  }
  sClockSourceConfig.ClockSource = TIM_CLOCKSOURCE_INTERNAL;
  if (HAL_TIM_ConfigClockSource(&htim4, &sClockSourceConfig) != HAL_OK)
  {
    Error_Handler();
  }
  sMasterConfig.MasterOutputTrigger = TIM_TRGO_RESET;
  sMasterConfig.MasterSlaveMode = TIM_MASTERSLAVEMODE_DISABLE;
  if (HAL_TIMEx_MasterConfigSynchronization(&htim4, &sMasterConfig) != HAL_OK)
  {
    Error_Handler();
  }

}

static void MX_USART2_UART_Init(void)
{

  huart2.Instance = USART2;
  huart2.Init.BaudRate = 115200;
  huart2.Init.WordLength = UART_WORDLENGTH_8B;
  huart2.Init.StopBits = UART_STOPBITS_1;
  huart2.Init.Parity = UART_PARITY_NONE;
  huart2.Init.Mode = UART_MODE_TX_RX;
  huart2.Init.HwFlowCtl = UART_HWCONTROL_NONE;
  huart2.Init.OverSampling = UART_OVERSAMPLING_16;
  if (HAL_UART_Init(&huart2) != HAL_OK)
  {
    Error_Handler();
  }

}

static void MX_USART3_UART_Init(void)
{

  huart3.Instance = USART3;
  huart3.Init.BaudRate = 115200;
  huart3.Init.WordLength = UART_WORDLENGTH_8B;
  huart3.Init.StopBits = UART_STOPBITS_1;
  huart3.Init.Parity = UART_PARITY_NONE;
  huart3.Init.Mode = UART_MODE_TX_RX;
  huart3.Init.HwFlowCtl = UART_HWCONTROL_NONE;
  huart3.Init.OverSampling = UART_OVERSAMPLING_16;
  if (HAL_UART_Init(&huart3) != HAL_OK)
  {
    Error_Handler();
  }

}

static void MX_DMA_Init(void)
{

  /* DMA controller clock enable */
  __HAL_RCC_DMA1_CLK_ENABLE();

  /* DMA interrupt init */
  /* DMA1_Stream0_IRQn interrupt configuration */
  HAL_NVIC_SetPriority(DMA1_Stream0_IRQn, 0, 0);
  HAL_NVIC_EnableIRQ(DMA1_Stream0_IRQn);
  /* DMA1_Stream1_IRQn interrupt configuration */
  HAL_NVIC_SetPriority(DMA1_Stream1_IRQn, 0, 0);
  HAL_NVIC_EnableIRQ(DMA1_Stream1_IRQn);
  /* DMA1_Stream3_IRQn interrupt configuration */
  HAL_NVIC_SetPriority(DMA1_Stream3_IRQn, 0, 0);
  HAL_NVIC_EnableIRQ(DMA1_Stream3_IRQn);
  /* DMA1_Stream5_IRQn interrupt configuration */
  HAL_NVIC_SetPriority(DMA1_Stream5_IRQn, 0, 0);
  HAL_NVIC_EnableIRQ(DMA1_Stream5_IRQn);
  /* DMA1_Stream6_IRQn interrupt configuration */
  HAL_NVIC_SetPriority(DMA1_Stream6_IRQn, 0, 0);
  HAL_NVIC_EnableIRQ(DMA1_Stream6_IRQn);
  /* DMA1_Stream7_IRQn interrupt configuration */
  HAL_NVIC_SetPriority(DMA1_Stream7_IRQn, 0, 0);
  HAL_NVIC_EnableIRQ(DMA1_Stream7_IRQn);

}

static void MX_GPIO_Init(void)
{
  GPIO_InitTypeDef GPIO_InitStruct = {0};

  /* GPIO Ports Clock Enable */
  __HAL_RCC_GPIOH_CLK_ENABLE();
  __HAL_RCC_GPIOA_CLK_ENABLE();
  __HAL_RCC_GPIOB_CLK_ENABLE();
  __HAL_RCC_GPIOD_CLK_ENABLE();
  __HAL_RCC_GPIOC_CLK_ENABLE();

  /*Configure GPIO pin Output Level */
  HAL_GPIO_WritePin(GPIOD, GPIO_PIN_0|GPIO_PIN_1, GPIO_PIN_RESET);

  /*Configure GPIO pin : PB15 */
  GPIO_InitStruct.Pin = GPIO_PIN_15;
  GPIO_InitStruct.Mode = GPIO_MODE_IT_RISING;
  GPIO_InitStruct.Pull = GPIO_NOPULL;
  HAL_GPIO_Init(GPIOB, &GPIO_InitStruct);

  /*Configure GPIO pins : PD0 PD1 */
  GPIO_InitStruct.Pin = GPIO_PIN_0|GPIO_PIN_1;
  GPIO_InitStruct.Mode = GPIO_MODE_OUTPUT_PP;
  GPIO_InitStruct.Pull = GPIO_NOPULL;
  GPIO_InitStruct.Speed = GPIO_SPEED_FREQ_LOW;
  HAL_GPIO_Init(GPIOD, &GPIO_InitStruct);

  /* EXTI interrupt init*/
  HAL_NVIC_SetPriority(EXTI15_10_IRQn, 0, 0);
  HAL_NVIC_EnableIRQ(EXTI15_10_IRQn);

}

/* USER CODE BEGIN 4 */
int Receive_Throttle_Min(void)
{
	if(ch[2]<1020) return 1;
	else return 0;
}

void Calib_Gyro(void){
	for( int i = 0; i < 2000; i++){
		if(MPU6050_Read_Data() != HAL_OK)
		{
			Reset_MPU6050();
		}
		Gyro_X_Calib += Gx;
		Gyro_Y_Calib += Gy;
		Gyro_Z_Calib += Gz;
		HAL_Delay(6);
	}
	Gyro_X_Calib /= 2000;
	Gyro_Y_Calib /= 2000;
	Gyro_Z_Calib /= 2000;
}
void Calib_BMP280(void)
{
	for (int i = 0;i < 2000; i++)
	{
		BMP280_Measure();
		Altitude_Calib += Altitude;
		HAL_Delay(1);
	}
	Altitude_Calib /= 2000;
}

void Reset_MPU6050(void)
{
	HAL_I2C_DeInit(&hi2c1);
	HAL_I2C_Init(&hi2c1);
	MX_I2C1_Init();
	MPU6050_Init();
	MPU6050_Read_Data();
}
//void kalman_2d(void)
//{
//	float S_temp[2][1];
//	float P_temp[2][2];
//
//	Acc[0][0] = AccZInertial;
//	// S = F*S + G*Acc;
//	S_temp[0][0] = S[0][0]; S_temp[1][0] = S[1][0];
//	S[0][0] = F[0][0]*S[0][0] + F[0][1]*S[1][0] + G[0][0]*Acc[0][0];
//	S[1][0] = F[1][0]*S[0][0] + F[1][1]*S[1][0] + G[1][0]*Acc[0][0];
//	//P = F*P*~F + Q;
//	P_temp[0][0] = P[0][0]; P_temp[0][1] = P[0][1]; P_temp[1][0] = P[1][0]; P_temp[1][1] = P[1][1];
//	P[0][0] = (F[0][0]*P_temp[0][0]+F[0][1]*P_temp[1][0])*F[0][0] + (F[0][0]*P_temp[0][1]+F[0][1]*P_temp[1][1])*F[0][1] + Q[0][0];
//	P[0][1] = (F[0][0]*P_temp[0][0]+F[0][1]*P_temp[1][0])*F[1][0] + (F[0][0]*P_temp[0][1]+F[0][1]*P_temp[1][1])*F[1][1] + Q[0][1];
//	P[1][0] = (F[1][0]*P_temp[0][0]+F[1][1]*P_temp[1][0])*F[0][0] + (F[1][0]*P_temp[0][1]+F[1][1]*P_temp[1][1])*F[0][1] + Q[1][0];
//	P[1][1] = (F[1][0]*P_temp[0][0]+F[1][1]*P_temp[1][0])*F[1][0] + (F[1][0]*P_temp[0][1]+F[1][1]*P_temp[1][1])*F[1][1] + Q[1][1];
//	//L = H*P*~H + R;
//	L[0][0] = H[0][0]*(H[0][0]*P[0][0]+H[0][1]*P[1][0]) + H[0][1]*(H[0][0]*P[0][1]+H[0][1]*P[1][1]) + R[0][0];
//	//K = P*~H*Invert(L);
//	K[0][0] = (P[0][0]*H[0][0] + P[0][1]*H[0][1])/(L[0][0]);
//	K[1][0] = (P[1][0]*H[0][0] + P[1][1]*H[0][1])/(L[0][0]);
//
//	M[0][0] = Altitude;
//	//S = S + K*(M-H*S);
//	S_temp[0][0] = S[0][0]; S_temp[1][0] = S[1][0];
//	S[0][0] = S_temp[0][0] + K[0][0]*(M[0][0] - (H[0][0]*S_temp[0][0] + H[0][1]*S_temp[1][0]));
//	S[1][0] = S_temp[1][0] + K[1][0]*(M[0][0] - (H[0][0]*S_temp[0][0] + H[0][1]*S_temp[1][0]));
//	AltitudeKalman = S[0][0];
//	VelocityVerticalKalman = S[1][0];
//	//P = (I-K*H)*P;
//	P_temp[0][0] = P[0][0]; P_temp[0][1] = P[0][1]; P_temp[1][0] = P[1][0]; P_temp[1][1] = P[1][1];
//	P[0][0] = (I[0][0]-K[0][0]*H[0][0])*P_temp[0][0] + (I[0][1]-K[0][0]*H[0][1])*P_temp[1][0];
//	P[0][1] = (I[0][0]-K[0][0]*H[0][0])*P_temp[0][1] + (I[0][1]-K[0][0]*H[0][1])*P_temp[1][1];
//	P[1][0] = (I[1][0]-K[1][0]*H[0][0])*P_temp[0][0] + (I[1][1]-K[1][0]*H[0][1])*P_temp[1][0];
//	P[1][1] = (I[1][0]-K[1][0]*H[0][0])*P_temp[0][1] + (I[1][1]-K[1][0]*H[0][1])*P_temp[1][1];
//}
//void define_kalman_2d(void)
//{
//	F[0][0] = 1; F[0][1] = 0.004;F[1][0] = 0;F[1][1] = 1;
//	G[0][0] = 0.5*0.004*0.004; G[1][0] = 0.004;
//	H[0][0] = 1; H[0][1] = 0;
//	I[0][0] = 1; I[0][1] = 0;I[1][0] = 0;I[1][1] = 1;
//	//Q = G*~G*10*10;  10 cm/m^2
//	Q[0][0] = G[0][0]* G[0][0];
//	Q[0][1] = G[0][0]* G[1][0];
//	Q[1][0] = G[1][0]* G[0][0];
//	Q[1][1] = G[1][0]* G[1][0];
//
//	R[0][0] = 30*30;
//	P[0][0] = 0;P[0][1] = 0;P[1][0] = 0;P[1][1] = 0;
//}

void matrix_multiply(float A[2][2], float B[2][2], float result[2][2]) {
    for (int i = 0; i < 2; i++) {
        for (int j = 0; j < 2; j++) {
            result[i][j] = 0;
            for (int k = 0; k < 2; k++) {
                result[i][j] += A[i][k] * B[k][j];
            }
        }
    }
}

/* USER CODE END 4 */

void Error_Handler(void)
{
  __disable_irq();
  while (1)
  {
  }
}
